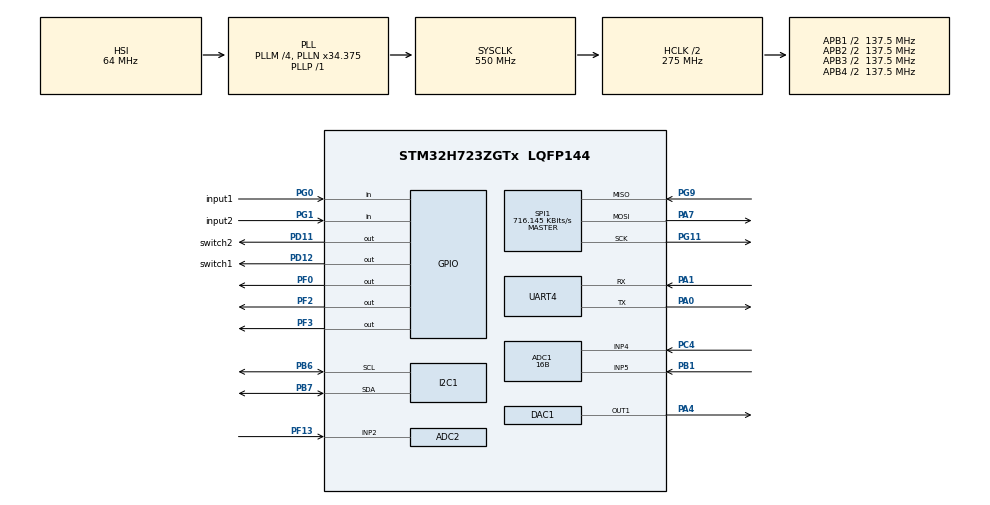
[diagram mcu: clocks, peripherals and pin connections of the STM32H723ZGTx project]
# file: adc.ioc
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ADC1.Channel-2\#ChannelRegularConversion=ADC_CHANNEL_5
ADC1.Channel-3\#ChannelRegularConversion=ADC_CHANNEL_4
ADC1.ClockPrescaler=ADC_CLOCK_ASYNC_DIV1
ADC1.ContinuousConvMode=ENABLE
ADC1.ConversionDataManagement=ADC_CONVERSIONDATA_DMA_CIRCULAR
ADC1.DiscontinuousConvMode=DISABLE
ADC1.EOCSelection=ADC_EOC_SEQ_CONV
ADC1.ExternalTrigConv=ADC_SOFTWARE_START
ADC1.ExternalTrigConvEdge=ADC_EXTERNALTRIGCONVEDGE_NONE
ADC1.NbrOfConversion=2
ADC1.NbrOfConversionFlag=1
ADC1.OffsetNumber-2\#ChannelRegularConversion=ADC_OFFSET_NONE
ADC1.OffsetNumber-3\#ChannelRegularConversion=ADC_OFFSET_NONE
ADC1.OffsetSignedSaturation-2\#ChannelRegularConversion=DISABLE
ADC1.OffsetSignedSaturation-3\#ChannelRegularConversion=DISABLE
ADC1.Rank-2\#ChannelRegularConversion=1
ADC1.Rank-3\#ChannelRegularConversion=2
ADC1.Resolution=ADC_RESOLUTION_16B
ADC1.SamplingTime-2\#ChannelRegularConversion=ADC_SAMPLETIME_32CYCLES_5
ADC1.SamplingTime-3\#ChannelRegularConversion=ADC_SAMPLETIME_32CYCLES_5
ADC1.master=1
ADC2.Channel-2\#ChannelRegularConversion=ADC_CHANNEL_2
ADC2.EOCSelection=ADC_EOC_SEQ_CONV
ADC2.NbrOfConversionFlag=1
ADC2.OffsetNumber-2\#ChannelRegularConversion=ADC_OFFSET_NONE
ADC2.OffsetSignedSaturation-2\#ChannelRegularConversion=DISABLE
ADC2.Rank-2\#ChannelRegularConversion=1
ADC2.SamplingTime-2\#ChannelRegularConversion=ADC_SAMPLETIME_1CYCLE_5
CORTEX_M7.default_mode_Activation=1
DAC1.DAC1_OutputBuffer-DAC_OUT1=DAC_OUTPUTBUFFER_ENABLE
DAC1.DAC_Channel-DAC_OUT1=DAC_CHANNEL_1
DAC1.DAC_SampleAndHold-DAC_OUT1=DAC_SAMPLEANDHOLD_DISABLE
DAC1.DAC_Trigger-DAC_OUT1=DAC_TRIGGER_T1_TRGO
DAC1.DAC_UserTrimming-DAC_OUT1=DAC_TRIMMING_FACTORY
Dma.ADC1.1.Direction=DMA_PERIPH_TO_MEMORY
Dma.ADC1.1.EventEnable=DISABLE
Dma.ADC1.1.FIFOMode=DMA_FIFOMODE_DISABLE
Dma.ADC1.1.Instance=DMA1_Stream1
Dma.ADC1.1.MemDataAlignment=DMA_MDATAALIGN_HALFWORD
Dma.ADC1.1.MemInc=DMA_MINC_ENABLE
Dma.ADC1.1.Mode=DMA_CIRCULAR
Dma.ADC1.1.PeriphDataAlignment=DMA_PDATAALIGN_HALFWORD
Dma.ADC1.1.PeriphInc=DMA_PINC_DISABLE
Dma.ADC1.1.Polarity=HAL_DMAMUX_REQ_GEN_RISING
Dma.ADC1.1.Priority=DMA_PRIORITY_LOW
Dma.ADC1.1.RequestNumber=1
Dma.ADC1.1.SignalID=NONE
Dma.ADC1.1.SyncEnable=DISABLE
Dma.ADC1.1.SyncPolarity=HAL_DMAMUX_SYNC_NO_EVENT
Dma.ADC1.1.SyncRequestNumber=1
Dma.ADC1.1.SyncSignalID=NONE
Dma.DAC1_CH1.0.Direction=DMA_MEMORY_TO_PERIPH
Dma.DAC1_CH1.0.EventEnable=DISABLE
Dma.DAC1_CH1.0.FIFOMode=DMA_FIFOMODE_DISABLE
Dma.DAC1_CH1.0.Instance=DMA1_Stream0
Dma.DAC1_CH1.0.MemDataAlignment=DMA_MDATAALIGN_HALFWORD
Dma.DAC1_CH1.0.MemInc=DMA_MINC_ENABLE
Dma.DAC1_CH1.0.Mode=DMA_CIRCULAR
Dma.DAC1_CH1.0.PeriphDataAlignment=DMA_PDATAALIGN_HALFWORD
Dma.DAC1_CH1.0.PeriphInc=DMA_PINC_DISABLE
Dma.DAC1_CH1.0.Polarity=HAL_DMAMUX_REQ_GEN_RISING
Dma.DAC1_CH1.0.Priority=DMA_PRIORITY_LOW
Dma.DAC1_CH1.0.RequestNumber=1
Dma.DAC1_CH1.0.SignalID=NONE
Dma.DAC1_CH1.0.SyncEnable=DISABLE
Dma.DAC1_CH1.0.SyncPolarity=HAL_DMAMUX_SYNC_NO_EVENT
Dma.DAC1_CH1.0.SyncRequestNumber=1
Dma.DAC1_CH1.0.SyncSignalID=NONE
Dma.Request0=DAC1_CH1
Dma.Request1=ADC1
I2C1.Timing=0x60404E72
Mcu.Family=STM32H7
Mcu.Name=STM32H723ZGTx
Mcu.Package=LQFP144
NVIC.DMA1_Stream0_IRQn=true\:0\:0\:false\:false\:true\:false\:true\:true
NVIC.DMA1_Stream1_IRQn=true\:0\:0\:false\:false\:true\:false\:true\:true
NVIC.PriorityGroup=NVIC_PRIORITYGROUP_4
NVIC.TIM17_IRQn=true\:0\:0\:false\:false\:true\:true\:true\:true
NVIC.TIM1_UP_IRQn=true\:0\:0\:false\:false\:true\:true\:true\:true
NVIC.TIM3_IRQn=true\:0\:0\:true\:false\:true\:true\:true\:true
NVIC.UART4_IRQn=true\:2\:0\:true\:false\:true\:true\:true\:true
PA0.Mode=Asynchronous
PA0.Signal=UART4_TX
PA1.Mode=Asynchronous
PA1.Signal=UART4_RX
PA4.Signal=COMP_DAC11_group
PA7.Mode=Full_Duplex_Master
PA7.Signal=SPI1_MOSI
PB1.Signal=ADCx_INP5
PB6.Mode=I2C
PB6.Signal=I2C1_SCL
PB7.Mode=I2C
PB7.Signal=I2C1_SDA
PC4.Signal=ADCx_INP4
PD11.GPIO_Label=switch2
PD11.Signal=GPIO_Output
PD12.GPIO_Label=switch1
PD12.Signal=GPIO_Output
PF0.GPIO_PuPd=GPIO_PULLUP
PF0.Signal=GPIO_Output
PF13.Mode=IN2-Single-Ended
PF13.Signal=ADC2_INP2
PF2.GPIO_PuPd=GPIO_PULLUP
PF2.Signal=GPIO_Output
PF3.GPIO_PuPd=GPIO_PULLUP
PF3.Signal=GPIO_Output
PG0.GPIO_Label=input1
PG0.Signal=GPIO_Input
PG1.GPIO_Label=input2
PG1.Signal=GPIO_Input
PG11.Mode=Full_Duplex_Master
PG11.Signal=SPI1_SCK
PG9.Mode=Full_Duplex_Master
PG9.Signal=SPI1_MISO
PH0-OSC_IN.Mode=HSE-External-Oscillator
PH0-OSC_IN.Signal=RCC_OSC_IN
PH1-OSC_OUT.Mode=HSE-External-Oscillator
PH1-OSC_OUT.Signal=RCC_OSC_OUT
ProjectManager.HeapSize=0x200
ProjectManager.StackSize=0x800
ProjectManager.TargetToolchain=CMake
RCC.ADCCLockSelection=RCC_ADCCLKSOURCE_PLL3
RCC.ADCFreq_Value=129000000
RCC.APB1Freq_Value=137500000
RCC.APB2Freq_Value=137500000
RCC.APB3Freq_Value=137500000
RCC.APB4Freq_Value=137500000
RCC.CortexFreq_Value=550000000
RCC.D1PPRE=RCC_APB3_DIV2
RCC.D2PPRE1=RCC_APB1_DIV2
RCC.D2PPRE2=RCC_APB2_DIV2
RCC.D3PPRE=RCC_APB4_DIV2
RCC.DIVM1=4
RCC.DIVM2=4
RCC.DIVN1=34
RCC.DIVN2=12
RCC.DIVP1=1
RCC.DIVQ1=3
RCC.FLatency-AdvancedSettings=FLASH_LATENCY_3
RCC.HCLKFreq_Value=275000000
RCC.HPRE=RCC_HCLK_DIV2
RCC.PLL1_VCI_Range-AdvancedSettings=RCC_PLL1VCIRANGE_2
RCC.PLL1_VCO_SEL-AdvancedSettings=RCC_PLL1VCOMEDIUM
RCC.PLL2FRACN=0
RCC.PLL2_VCO_SEL-AdvancedSettings=RCC_PLL2VCOMEDIUM
RCC.PLL3FRACN=0
RCC.PLL3_VCI_Range-AdvancedSettings=RCC_PLL3VCIRANGE_0
RCC.PLLFRACN=3072
RCC.SYSCLKFreq_VALUE=550000000
RCC.SYSCLKSource=RCC_SYSCLKSOURCE_PLLCLK
RCC.USBFreq_Value=183333333.33333334
SH.ADCx_INP4.0=ADC1_INP4,IN4-Single-Ended
SH.ADCx_INP5.0=ADC1_INP5,IN5-Single-Ended
SH.COMP_DAC11_group.0=DAC1_OUT1,DAC_OUT1
SPI1.BaudRatePrescaler=SPI_BAUDRATEPRESCALER_256
SPI1.CalculateBaudRate=716.145 KBits/s
SPI1.Direction=SPI_DIRECTION_2LINES
SPI1.Mode=SPI_MODE_MASTER
SPI1.VirtualType=VM_MASTER
STMicroelectronics.X-CUBE-ALGOBUILD.1.4.0.LibraryCcDSPOoLibraryJjDSPOoLibrary=true
TIM1.AutoReloadPreload=TIM_AUTORELOAD_PRELOAD_ENABLE
TIM1.ClockDivision=TIM_CLOCKDIVISION_DIV1
TIM1.Period=20-1
TIM1.Prescaler=1-1
TIM1.TIM_MasterOutputTrigger=TIM_TRGO_UPDATE
TIM1.TIM_MasterOutputTrigger2=TIM_TRGO2_RESET
TIM17.Period=1-1
TIM17.Prescaler=275-1
TIM3.AutoReloadPreload=TIM_AUTORELOAD_PRELOAD_DISABLE
TIM3.Period=27-1
TIM3.Prescaler=1000-1
TIM3.TIM_MasterOutputTrigger=TIM_TRGO_UPDATE
VP_MEMORYMAP_VS_MEMORYMAP.Mode=CurAppReg
VP_STMicroelectronics.X-CUBE-ALGOBUILD_VS_DSPOoLibraryJjLibrary_1.4.0_1.4.0.Mode=DSPOoLibraryJjLibrary
VP_TIM17_VS_ClockSourceINT.Mode=Enable_Timer
VP_TIM1_VS_ClockSourceINT.Mode=Internal
VP_TIM3_VS_ClockSourceINT.Mode=Internal
board=custom

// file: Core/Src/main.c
/* USER CODE BEGIN Header */
/**
  ******************************************************************************
  * @file           : main.c
  * @brief          : Main program body
  ******************************************************************************
  * @attention
  *
  * Copyright (c) 2025 STMicroelectronics.
  * All rights reserved.
  *
  * This software is licensed under terms that can be found in the LICENSE file
  * in the root directory of this software component.
  * If no LICENSE file comes with this software, it is provided AS-IS.
  *
  ******************************************************************************
  */
/* USER CODE END Header */
#include "main.h"
#include "adc.h"
#include "dac.h"
#include "dma.h"
#include "i2c.h"
#include "memorymap.h"
#include "spi.h"
#include "tim.h"
#include "usart.h"
#include "gpio.h"

/* USER CODE BEGIN Includes */
#include<stdio.h>
#include<oled.h>
#include<font.h>
#include "arm_math.h"
#include "arm_const_structs.h"
#include <stdlib.h>
#include <stdbool.h>
#include "AD9833.h"
/* USER CODE END Includes */

/* USER CODE BEGIN PD */
#define Pi 3.1415926
#define SAMPLE1 277
#define FFT_LENGTH 1024
#define SAMPLE2 2770
/* USER CODE END PD */

/* USER CODE BEGIN PV */
uint16_t DualSine12bit1[SAMPLE1]__attribute__((section(".out")));
uint16_t DualSine12bit2[SAMPLE2]__attribute__((section(".out")));
uint16_t high[SAMPLE1]__attribute__((section(".adc")));
uint16_t adc_data[FFT_LENGTH*2]__attribute__((section(".adc")));
uint16_t out_data[FFT_LENGTH*2]__attribute__((section(".out")));
uint16_t fft_data1[FFT_LENGTH]__attribute__((section(".out")));
uint16_t fft_data2[FFT_LENGTH]__attribute__((section(".out")));

uint8_t fft_complete_flag=0;
char* str1;
int type=0;
float value=0;
float Q=0;
float hanning_window[FFT_LENGTH];

float FREQUENCY[FFT_LENGTH];//FFT变换之后对应的真实频率，我还没写呢
float dif_phase;
float fft_input1[FFT_LENGTH*2];
float fft_output1[FFT_LENGTH];
float fft_input2[FFT_LENGTH*2];
float fft_output2[FFT_LENGTH];

float MAX1;      //FFT处理后的最大值
float MAX2;
uint16_t index_MAX1; //最大值的下标
uint16_t index_MAX2;
bool half_cplt = true;
float vol_data[FFT_LENGTH*2];//这个是转换之后的电压值
// 初始化汉宁窗
void init_window() {
    for(int i=0; i<FFT_LENGTH; i++) {
        hanning_window[i] = 0.5f * (1 - cosf(2 * PI * i / (FFT_LENGTH - 1)));
    }
}

/* USER CODE END PV */

void SystemClock_Config(void);
void PeriphCommonClock_Config(void);
static void MPU_Config(void);
/* USER CODE BEGIN PFP */
float phase_diff(float phase1, float phase2);

/* USER CODE END PFP */

/* USER CODE BEGIN 0 */

int _write(int file, char *ptr, int len)
{
    (void)file;
    HAL_UART_Transmit(&huart4, (uint8_t *)ptr, len, HAL_MAX_DELAY);
    return len;
}//串口重定向
char *Float1String(float value){
    char* str = str1;
    int Head = abs((int)value);

    float p = fabs(value - (int)value);
    char zero[5] = "";
    for(int i = 0; i < 1; i++)
    {
        p *= 10;
        if(p<1)
            sprintf(zero, "%s0", zero);
        else
            break;
    }
    int Point = abs((int)((fabs(value) - Head)*100));
    if(value < 0) sprintf(str, "-%d.%s%d", Head, zero, Point);
    else sprintf(str, "%d.%s%d", Head, zero, Point);

    return str;
}
void SineWave_Data( int num,uint16_t *D,float U) {
    int i;
    for (i = 0; i < num; i++) {
        D[i] = (uint16_t ) ((U * sin((1.0 * i / (num - 1)) * 2 * PI) + U + 1.3) * 4095 / 3.3);
    }
}
void High_Data( int num,uint16_t *D) {
    int i;
    for (i = 0; i < num; i++) {
        D[i] = (uint16_t ) (4095*3/3.3);
//        D[i] = (uint16_t ) ((U * sin((1.0 * i / (num - 1)) * 2 * PI) + U + 0.5) * 4095 / 3.3);
    }
}

bool data_ready = false;
void HAL_ADC_ConvCpltCallback(ADC_HandleTypeDef* hadc) {
    if(fft_complete_flag) {
        HAL_ADC_Stop_DMA(&hadc1);
        memcpy(out_data , adc_data , sizeof(uint16_t) * FFT_LENGTH * 2);
        HAL_ADC_Start_DMA(&hadc1, (uint32_t*)adc_data, FFT_LENGTH * 2);
        data_ready = true; // 标记数据准备就绪
    }

}
void data_separation(){
    for (int i = 0; i < FFT_LENGTH; i++)
    {
        fft_data1[i]=out_data[2*i];
    }
    for (int i = 0; i < FFT_LENGTH; i++)
    {
        fft_data2[i]=out_data[2*i+1];
    }//分两个通道的数据
}
float phase_diff(float phase1,float phase2){
    float phase_diff_t;
    phase_diff_t=phase1-phase2;
    if(phase_diff_t > 180) phase_diff_t -= 360;
    if(phase_diff_t < -180) phase_diff_t += 360;
    return phase_diff_t;
}
typedef struct {
    float Q;         // 过程噪声的方??
    float R;         // 测量噪声的方??
    float x_last;    // 上一时刻的状态估?????????
    float p_last;    // 上一时刻的估计误差协方差
} KalmanFilter;
void kalman_filter_init(KalmanFilter *filter, float Q, float R) {
    filter->Q = Q;
    filter->R = R;
    filter->x_last = 0.0f;
    filter->p_last = 1.0f;
}
float kalman_filter_update(KalmanFilter *filter, float measurement) {
    float x_pred = filter->x_last;      // 当前时刻的状态预?????????
    float p_pred = filter->p_last + filter->Q;  // 当前时刻的预测误差协方差

    float kg = p_pred / (p_pred + filter->R);  // 卡尔曼增??

    float x_now = x_pred + kg * (measurement - x_pred);  // 当前时刻的状态更?????????
    float p_now = (1 - kg) * p_pred;                      // 当前时刻的更新误差协方差

    filter->x_last = x_now;  // 更新?????????估计???
    filter->p_last = p_now;  // 更新估计误差协方??

    return x_now;
}
KalmanFilter freq_filter, vpp_filter, dphase_filter;
void Switch(int k){
    switch(k){
        case 0:
            HAL_GPIO_WritePin(switch1_GPIO_Port,switch1_Pin,RESET);
            HAL_GPIO_WritePin(switch2_GPIO_Port,switch2_Pin,RESET);
            break;

        case 1:
            HAL_GPIO_WritePin(switch1_GPIO_Port,switch1_Pin,SET);
            HAL_GPIO_WritePin(switch2_GPIO_Port,switch2_Pin,RESET);
            break;

        case 2:
            HAL_GPIO_WritePin(switch1_GPIO_Port,switch1_Pin,SET);
            HAL_GPIO_WritePin(switch2_GPIO_Port,switch2_Pin,SET);
            break;
    }
}
void gpio_init(){
    HAL_GPIO_WritePin(switch1_GPIO_Port,switch1_Pin,RESET);
    HAL_GPIO_WritePin(switch2_GPIO_Port,switch2_Pin,RESET);
}
int Judge(){
    float avg=0;
    int k=0;
    int s1=0,s2=0,s3=0;

    Switch(0);
    HAL_DAC_Stop_DMA(&hdac1,DAC_CHANNEL_1);
    HAL_DAC_Start_DMA(&hdac1,DAC_CHANNEL_1,(uint32_t *)DualSine12bit2,SAMPLE2,DAC_ALIGN_12B_R);//改为5kHz
    HAL_Delay(30);
    for(int i=0;i<20;i++){
        HAL_ADC_Start(&hadc2);
        HAL_ADC_PollForConversion(&hadc2,20);
        avg+=HAL_ADC_GetValue(&hadc2)/65535.*3.3;
    }
    avg/=20.;

    if(avg<0.3){
        s1++;
    }
    else if(avg>2.5){
        s2++;
    }
    else{
        s3++;
    }

    Switch(1);
    HAL_Delay(100);
    avg=0;
    for(int i=0;i<20;i++){
        HAL_ADC_Start(&hadc2);
        HAL_ADC_PollForConversion(&hadc2,20);
        avg+=HAL_ADC_GetValue(&hadc2)/65535.*3.3;

    }
    avg/=20.;
    if(avg<0.3){
        s1++;
    }
    else if(avg>2.4){
        s2++;
    }
    else{
        s3++;
    }

    Switch(2);
    HAL_Delay(60);
    avg=0;
    for(int i=0;i<20;i++){
        HAL_ADC_Start(&hadc2);
        HAL_ADC_PollForConversion(&hadc2,20);
        avg+=HAL_ADC_GetValue(&hadc2)/65535.*3.3;

    }
    avg/=20.;
    if(avg<0.3){
        s1++;
    }
    else if(avg>2.4){
        s2++;
    }
    else{
        s3++;
    }

    if(s1>s2 && s1>s3){
        return 0;//电容
    }
    else if(s2>s3 && s2>s1){
        return 1;//电感
    }
    else{
        return 2;//电阻
    }
}
float calculation(int Z_type, float calc_dif_phase){
    float avg1=0,avg2=0;
    float Kc=4.0;
    float dif_phase_radian = calc_dif_phase / 180.0 * Pi;
    float conductor_factor = 27.476;
    float origin_value;float value_t;
    switch(Z_type){
        case 0:

            return (float)(Kc/tan(dif_phase_radian));

        case 1:
            origin_value = (float)( conductor_factor *tan(dif_phase_radian));
            origin_value += origin_value * origin_value * 0.000605 + origin_value * 0.0507;
            return origin_value;

        case 2:
                Switch(0);
                HAL_DAC_Stop_DMA(&hdac1, DAC_CHANNEL_1);
                HAL_DAC_Start_DMA(&hdac1, DAC_CHANNEL_1, (uint32_t *) high, SAMPLE1, DAC_ALIGN_12B_R);

                for (int i = 0; i < 20; i++) {
                    HAL_ADC_Start(&hadc1);
                    HAL_ADC_PollForConversion(&hadc1,20);
                    avg1+=HAL_ADC_GetValue(&hadc1)/65535.*3.3;
                    HAL_ADC_Stop(&hadc1);
                    HAL_ADC_Start(&hadc1);
                    HAL_ADC_PollForConversion(&hadc1,20);
                    avg2+=HAL_ADC_GetValue(&hadc1)/65535.*3.3;
                    HAL_ADC_Stop(&hadc2);
                }
                avg1 /= 20.;
                avg2 /= 20.;
                value_t = avg1 * 8.9 / avg2;
                if (value_t < 100) {
                    HAL_DAC_Stop_DMA(&hdac1, DAC_CHANNEL_1);
                    HAL_DAC_Start_DMA(&hdac1, DAC_CHANNEL_1, (uint32_t *) DualSine12bit1, SAMPLE1, DAC_ALIGN_12B_R);
                    return value_t;
                }//挡位1

                Switch(1);
                for (int i = 0; i < 20; i++) {
                    HAL_ADC_Start(&hadc1);
                    HAL_ADC_PollForConversion(&hadc1,20);
                    avg1+=HAL_ADC_GetValue(&hadc1)/65535.*3.3;
                    HAL_ADC_Stop(&hadc1);
                    HAL_ADC_Start(&hadc2);
                    HAL_ADC_PollForConversion(&hadc2,20);
                    avg2+=HAL_ADC_GetValue(&hadc2)/65535.*3.3;
                    HAL_ADC_Stop(&hadc2);
                }
                avg1 /= 20.;
                avg2 /= 20.;
                value_t = avg1 * 997 / avg2;
                if (value_t < 10000) {
                    HAL_DAC_Stop_DMA(&hdac1, DAC_CHANNEL_1);
                    HAL_DAC_Start_DMA(&hdac1, DAC_CHANNEL_1, (uint32_t *) DualSine12bit1, SAMPLE1, DAC_ALIGN_12B_R);
                    return value_t;
                }//挡位2

                Switch(1);
                for (int i = 0; i < 20; i++) {
                    HAL_ADC_Start(&hadc1);
                    HAL_ADC_PollForConversion(&hadc1,20);
                    avg1+=HAL_ADC_GetValue(&hadc1)/65535.*3.3;
                    HAL_ADC_Stop(&hadc1);
                    HAL_ADC_Start(&hadc2);
                    HAL_ADC_PollForConversion(&hadc2,20);
                    avg2+=HAL_ADC_GetValue(&hadc2)/65535.*3.3;
                    HAL_ADC_Stop(&hadc2);
                }
                avg1 /= 20.;
                avg2 /= 20.;
                value_t = avg1 * 1997 / avg2;
                HAL_ADC_Start_DMA(&hadc1,(uint32_t *)adc_data, FFT_LENGTH*2);
                HAL_DAC_Stop_DMA(&hdac1, DAC_CHANNEL_1);
                HAL_DAC_Start_DMA(&hdac1, DAC_CHANNEL_1, (uint32_t *) DualSine12bit1, SAMPLE1, DAC_ALIGN_12B_R);
                return value_t;
                //挡位3
            }

}
void display(float value){
    OLED_NewFrame();
    OLED_PrintString(0,0,"type:", &font16x16, OLED_COLOR_NORMAL);
    switch(type){
        case 0:
            OLED_PrintString(48,0,"capacity", &font16x16, OLED_COLOR_NORMAL);
            OLED_PrintString(0,16,"value:", &font16x16, OLED_COLOR_NORMAL);
            OLED_PrintString(48,16, Float1String(value), &font16x16, OLED_COLOR_NORMAL);
            break;
        case 1:
            OLED_PrintString(48,0,"inductance", &font16x16, OLED_COLOR_NORMAL);
            OLED_PrintString(0,16,"value:", &font16x16, OLED_COLOR_NORMAL);
            OLED_PrintString(48,16,Float1String(value), &font16x16, OLED_COLOR_NORMAL);
            OLED_PrintString(0,32,"Q:", &font16x16, OLED_COLOR_NORMAL);
            OLED_PrintString(32,32," ", &font16x16, OLED_COLOR_NORMAL);
            break;
        case 2:
            OLED_PrintString(48,0,"resistance", &font16x16, OLED_COLOR_NORMAL);
            OLED_PrintString(0,16,"value:", &font16x16, OLED_COLOR_NORMAL);
            OLED_PrintString(48,16,Float1String(value), &font16x16, OLED_COLOR_NORMAL);
            break;
    }
//    OLED_PrintString(48,0, Float1String(kalman_filter_update(&dphase_filter,value)), &font16x16, OLED_COLOR_NORMAL);

    OLED_ShowFrame();

}

/* USER CODE END 0 */

int main(void)
{

  /* USER CODE BEGIN 1 */
   str1 = (char*)malloc(10);

  /* USER CODE END 1 */

  /* MPU Configuration--------------------------------------------------------*/
  MPU_Config();

  /* MCU Configuration--------------------------------------------------------*/

  /* Reset of all peripherals, Initializes the Flash interface and the Systick. */
  HAL_Init();

  /* Configure the system clock */
  SystemClock_Config();

  /* Configure the peripherals common clocks */
  PeriphCommonClock_Config();

  /* Initialize all configured peripherals */
  MX_GPIO_Init();
  MX_DMA_Init();
  MX_DAC1_Init();
  MX_TIM17_Init();
  MX_ADC1_Init();
  MX_SPI1_Init();
  MX_TIM1_Init();
  MX_TIM3_Init();
  MX_UART4_Init();
  MX_ADC2_Init();
  MX_I2C1_Init();
  /* USER CODE BEGIN 2 */

//q
    kalman_filter_init(&freq_filter, 0.005, 0.4);
    kalman_filter_init(&vpp_filter, 0.01, 0.4);
    kalman_filter_init(&dphase_filter, 0.02, 2.0);

    OLED_Init();

    gpio_init();
    arm_cfft_radix4_instance_f32 scfft;
    arm_cfft_radix4_init_f32(&scfft,FFT_LENGTH,0,1);
    HAL_TIM_Base_Start(&htim1);
    SineWave_Data(SAMPLE1,DualSine12bit1,0.7);
    High_Data(SAMPLE1, high);
    HAL_ADCEx_Calibration_Start(&hadc1, ADC_CALIB_OFFSET, ADC_SINGLE_ENDED);
    HAL_ADCEx_Calibration_Start(&hadc2, ADC_CALIB_OFFSET, ADC_SINGLE_ENDED);
    HAL_DAC_Start_DMA(&hdac1,DAC_CHANNEL_1,(uint32_t *)high,SAMPLE1,DAC_ALIGN_12B_R);
    type=Judge();
    HAL_DAC_Stop_DMA(&hdac1,DAC_CHANNEL_1);
    HAL_DAC_Start_DMA(&hdac1,DAC_CHANNEL_1,(uint32_t *)DualSine12bit1,SAMPLE1,DAC_ALIGN_12B_R);
    HAL_ADC_Start_DMA(&hadc1,(uint32_t *)adc_data, FFT_LENGTH*2);
    switch(type){
        case 0:
            Switch(1);
        case 1:
            Switch(0);
        case 2:
            Switch(0);
    }

  /* USER CODE END 2 */

  /* Infinite loop */
  while (1)
  {

    /* USER CODE BEGIN 3 */

        fft_complete_flag=1;

        if(data_ready) {
            data_separation();
            data_ready = false;

            fft_complete_flag = 0;

            float avg_1 = 0, avg_2 = 0;
            for (int i = 0; i < FFT_LENGTH; i++) {
                avg_1 += fft_data1[i];
                avg_2 += fft_data2[i];
            }//????????????A1,A0??
//            avg_1 /= 1023.0;
//            avg_2 /= 1023.0;
            avg_1 = 0;
            avg_2 = 0;

//            char msg[40000] = {0};
//            for (int i = 0; i < FFT_LENGTH; i++) {
//                sprintf(msg, "%s%s", msg, Float1String(fft_data1[i] - avg_1));
//                sprintf(msg, "%s,%s\r\n ", msg, Float1String(fft_data2[i] - avg_2));
//            }//打印数据（串口A1,A0）
//
//            printf("%s", msg);
//
//      memset(msg, 0, sizeof (msg));
//
//      for (int i = FFT_LENGTH/2; i < FFT_LENGTH; i++)
//      {
//          sprintf(msg, "%s%s,%s \r\n",msg, Float1String(fft_data1[i]), Float1String((fft_data2[i])));
//      }//打印数据（串口A1,A0）
//

//      float vpp=calculate_rms(fft_input1,FFT_LENGTH)* sqrtf(2.0f);   // 正弦波

            for (int i = 0; i < FFT_LENGTH; i++) {
                fft_input1[i * 2] = ((float) fft_data1[i] - avg_1) / 65535.0 * 3.3;  // 实部
                fft_input1[i * 2 + 1] = 0;              // 虚部

            }
            // 对通道1执行FFT
            arm_cfft_f32(&arm_cfft_sR_f32_len1024, fft_input1, 0, 1);  // 复数FFT
            arm_cmplx_mag_f32(fft_input1, fft_output1, FFT_LENGTH);    // 计算幅值谱
            fft_output1[0] = fft_output1[0] / FFT_LENGTH;// 提取直流量 第一个数据除以采样点数为直流分量

            for (int i = 1; i < FFT_LENGTH; i++) {
                fft_output1[i] /= (FFT_LENGTH / 2);
            }//归一化处理
            for (int i = 1; i < FFT_LENGTH / 2; i++) {
                if (fft_output1[i] > MAX1) {
                    MAX1 = fft_output1[i];
                    index_MAX1 = i;
                }
            } // 找到基频位置（幅值最大的点）
            // 通道1相位计算
            float phase1 = atan2f(fft_input1[2 * index_MAX1 + 1], fft_input1[2 * index_MAX1]) * 180.0f / PI;

            for (int i = 0; i < FFT_LENGTH; i++) {
                fft_input2[i * 2] = ((float) fft_data2[i] - avg_2) / 65535. * 3.3;  // 实部
                fft_input2[i * 2 + 1] = 0;              // 虚部

            }
            // 对通道2执行FFT

            arm_cfft_f32(&arm_cfft_sR_f32_len1024, fft_input2, 0, 1);  // 复数FFT
            arm_cmplx_mag_f32(fft_input2, fft_output2, FFT_LENGTH);    // 计算幅值谱
            fft_output2[0] = fft_output2[0] / FFT_LENGTH;// 提取直流量 第一个数据除以采样点数为直流分量

            for (int i = 1; i < FFT_LENGTH; i++) {
                fft_output2[i] /= (FFT_LENGTH / 2);
            }//归一化处理
            for (int i = 1; i < FFT_LENGTH / 2; i++) {

                if (fft_output2[i] > MAX2) {
                    MAX2 = fft_output2[i];
                    index_MAX2 = i;
                }
            }// 找到基频位置（幅值最大的点）

            float phase2 = atan2f(fft_input2[2 * index_MAX2 + 1], fft_input2[2 * index_MAX2]) * 180.0f / PI;
            dif_phase = phase_diff(phase1, phase2);

            if (index_MAX2 > 20) {
                dif_phase += 7.0;
            } else {
                dif_phase += -1.8;
            }

//      for(int i=0;i<FFT_LENGTH;i++){
//          printf("%s", Float1String(fft_output1[i]));
//          printf(",%s\r\n", Float1String(fft_output2[i]));
//      }

            float ka_dif_phase = kalman_filter_update(&dphase_filter,dif_phase);
            value = calculation(type, ka_dif_phase);
            display(value);

            printf("%s\r\n", Float1String(ka_dif_phase));

        }

  }
  /* USER CODE END 3 */
}

void SystemClock_Config(void)
{
  RCC_OscInitTypeDef RCC_OscInitStruct = {0};
  RCC_ClkInitTypeDef RCC_ClkInitStruct = {0};

  /** Supply configuration update enable
  */
  HAL_PWREx_ConfigSupply(PWR_LDO_SUPPLY);

  /** Configure the main internal regulator output voltage
  */
  __HAL_PWR_VOLTAGESCALING_CONFIG(PWR_REGULATOR_VOLTAGE_SCALE0);

  while(!__HAL_PWR_GET_FLAG(PWR_FLAG_VOSRDY)) {}

  /** Initializes the RCC Oscillators according to the specified parameters
  * in the RCC_OscInitTypeDef structure.
  */
  RCC_OscInitStruct.OscillatorType = RCC_OSCILLATORTYPE_HSI;
  RCC_OscInitStruct.HSIState = RCC_HSI_DIV1;
  RCC_OscInitStruct.HSICalibrationValue = 64;
  RCC_OscInitStruct.PLL.PLLState = RCC_PLL_ON;
  RCC_OscInitStruct.PLL.PLLSource = RCC_PLLSOURCE_HSI;
  RCC_OscInitStruct.PLL.PLLM = 4;
  RCC_OscInitStruct.PLL.PLLN = 34;
  RCC_OscInitStruct.PLL.PLLP = 1;
  RCC_OscInitStruct.PLL.PLLQ = 3;
  RCC_OscInitStruct.PLL.PLLR = 2;
  RCC_OscInitStruct.PLL.PLLRGE = RCC_PLL1VCIRANGE_3;
  RCC_OscInitStruct.PLL.PLLVCOSEL = RCC_PLL1VCOWIDE;
  RCC_OscInitStruct.PLL.PLLFRACN = 3072;
  if (HAL_RCC_OscConfig(&RCC_OscInitStruct) != HAL_OK)
  {
    Error_Handler();
  }

  /** Initializes the CPU, AHB and APB buses clocks
  */
  RCC_ClkInitStruct.ClockType = RCC_CLOCKTYPE_HCLK|RCC_CLOCKTYPE_SYSCLK
                              |RCC_CLOCKTYPE_PCLK1|RCC_CLOCKTYPE_PCLK2
                              |RCC_CLOCKTYPE_D3PCLK1|RCC_CLOCKTYPE_D1PCLK1;
  RCC_ClkInitStruct.SYSCLKSource = RCC_SYSCLKSOURCE_PLLCLK;
  RCC_ClkInitStruct.SYSCLKDivider = RCC_SYSCLK_DIV1;
  RCC_ClkInitStruct.AHBCLKDivider = RCC_HCLK_DIV2;
  RCC_ClkInitStruct.APB3CLKDivider = RCC_APB3_DIV2;
  RCC_ClkInitStruct.APB1CLKDivider = RCC_APB1_DIV2;
  RCC_ClkInitStruct.APB2CLKDivider = RCC_APB2_DIV2;
  RCC_ClkInitStruct.APB4CLKDivider = RCC_APB4_DIV2;

  if (HAL_RCC_ClockConfig(&RCC_ClkInitStruct, FLASH_LATENCY_3) != HAL_OK)
  {
    Error_Handler();
  }
}

void PeriphCommonClock_Config(void)
{
  RCC_PeriphCLKInitTypeDef PeriphClkInitStruct = {0};

  /** Initializes the peripherals clock
  */
  PeriphClkInitStruct.PeriphClockSelection = RCC_PERIPHCLK_ADC;
  PeriphClkInitStruct.PLL3.PLL3M = 32;
  PeriphClkInitStruct.PLL3.PLL3N = 129;
  PeriphClkInitStruct.PLL3.PLL3P = 2;
  PeriphClkInitStruct.PLL3.PLL3Q = 2;
  PeriphClkInitStruct.PLL3.PLL3R = 2;
  PeriphClkInitStruct.PLL3.PLL3RGE = RCC_PLL3VCIRANGE_1;
  PeriphClkInitStruct.PLL3.PLL3VCOSEL = RCC_PLL3VCOWIDE;
  PeriphClkInitStruct.PLL3.PLL3FRACN = 0;
  PeriphClkInitStruct.AdcClockSelection = RCC_ADCCLKSOURCE_PLL3;
  if (HAL_RCCEx_PeriphCLKConfig(&PeriphClkInitStruct) != HAL_OK)
  {
    Error_Handler();
  }
}

/* USER CODE BEGIN 4 */
void HAL_TIM_PeriodElapsedCallback(TIM_HandleTypeDef *htim)
{

}

/* USER CODE END 4 */

 /* MPU Configuration */

void MPU_Config(void)
{
  MPU_Region_InitTypeDef MPU_InitStruct = {0};

  /* Disables the MPU */
  HAL_MPU_Disable();

  /** Initializes and configures the Region and the memory to be protected
  */
  MPU_InitStruct.Enable = MPU_REGION_ENABLE;
  MPU_InitStruct.Number = MPU_REGION_NUMBER0;
  MPU_InitStruct.BaseAddress = 0x0;
  MPU_InitStruct.Size = MPU_REGION_SIZE_4GB;
  MPU_InitStruct.SubRegionDisable = 0x87;
  MPU_InitStruct.TypeExtField = MPU_TEX_LEVEL0;
  MPU_InitStruct.AccessPermission = MPU_REGION_NO_ACCESS;
  MPU_InitStruct.DisableExec = MPU_INSTRUCTION_ACCESS_DISABLE;
  MPU_InitStruct.IsShareable = MPU_ACCESS_SHAREABLE;
  MPU_InitStruct.IsCacheable = MPU_ACCESS_NOT_CACHEABLE;
  MPU_InitStruct.IsBufferable = MPU_ACCESS_NOT_BUFFERABLE;

  HAL_MPU_ConfigRegion(&MPU_InitStruct);
  /* Enables the MPU */
  HAL_MPU_Enable(MPU_PRIVILEGED_DEFAULT);

}

void Error_Handler(void)
{
  __disable_irq();
  while (1)
  {
  }
}
